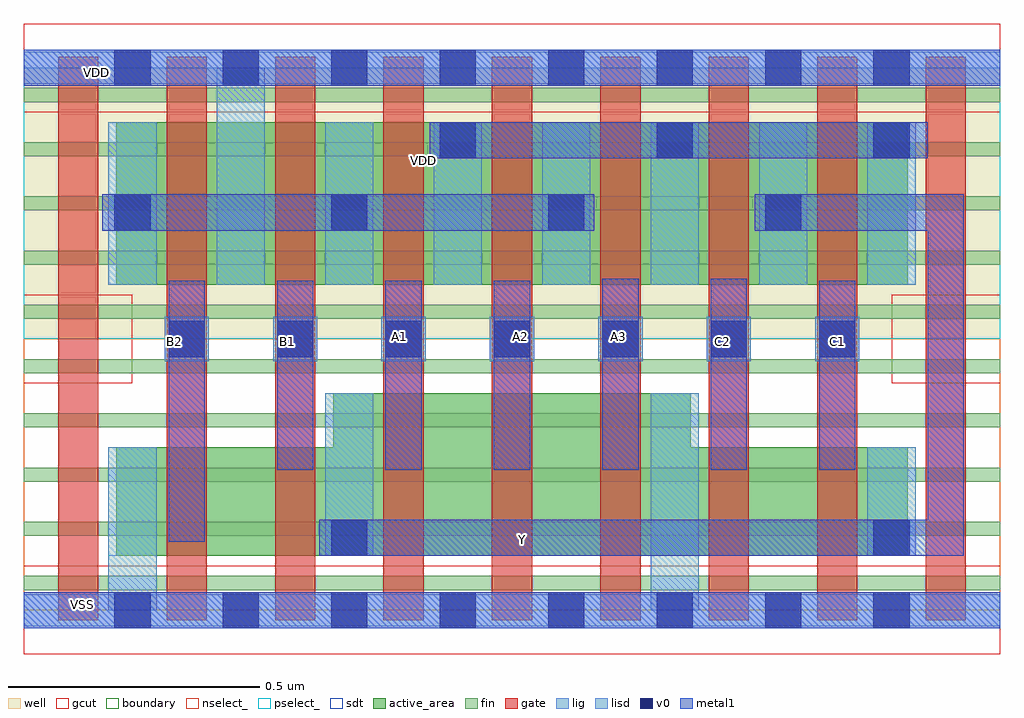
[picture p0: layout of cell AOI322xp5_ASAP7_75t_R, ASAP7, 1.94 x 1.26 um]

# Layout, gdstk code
import gdstk
lib = gdstk.Library(unit=1e-6, precision=2.5e-10)
def R(c, l, rs):  # rectangles x0, y0, x1, y1
    for r in rs: c.add(gdstk.rectangle(r[:2], r[2:], *l))
def A(c, l, x, y, w, h, nx, ny, dx, dy):  # array of equal rectangles
    R(c, l, [(x+i*dx, y+j*dy, x+i*dx+w, y+j*dy+h) for i in range(nx) for j in range(ny)])
def P(c, l, *ps):  # polygons
    for p in ps: c.add(gdstk.Polygon(p, *l))
well = (1, 0)
fin = (2, 0)
gate = (7, 0)
gcut = (10, 0)
active_area = (11, 0)
nselect_ = (12, 0)
pselect_ = (13, 0)
lig = (16, 0)
lisd = (17, 0)
v0 = (18, 0)
metal1 = (19, 0)
sdt = (88, 0)
boundary = (100, 0)

aoi322xp5_asap7_75t_r = lib.new_cell('AOI322xp5_ASAP7_75t_R')
R(aoi322xp5_asap7_75t_r, well, [(0,0.54,1.944,1.08)])
A(aoi322xp5_asap7_75t_r, fin, 0, 0.04, 1.944, 0.028, 1, 10, 0, 0.108)
A(aoi322xp5_asap7_75t_r, gate, 0.068, -0.02, 0.08, 1.122, 9, 1, 0.216, 0)
R(aoi322xp5_asap7_75t_r, gcut, [(0,-0.088,1.944,0.088), (0,0.452,0.216,0.628), (1.728,0.452,1.944,0.628), (0,0.992,1.944,1.168)])
R(aoi322xp5_asap7_75t_r, active_area, [(0.184,0.648,1.76,0.972)])
P(aoi322xp5_asap7_75t_r, active_area, [(1.76,0.324),(1.328,0.324),(1.328,0.432),(0.616,0.432),(0.616,0.324),(0.184,0.324),(0.184,0.108),(1.76,0.108)])
R(aoi322xp5_asap7_75t_r, nselect_, [(0,0,1.944,0.54)])
R(aoi322xp5_asap7_75t_r, pselect_, [(0,0.54,1.944,1.08)])
A(aoi322xp5_asap7_75t_r, lig, 0.28, 0.496, 0.088, 0.088, 7, 1, 0.216, 0)
R(aoi322xp5_asap7_75t_r, lig, [(0,-0.032,1.944,0.032), (0,1.048,1.944,1.112)])
A(aoi322xp5_asap7_75t_r, lisd, 0.6, 0.648, 0.096, 0.324, 6, 1, 0.216, 0)
R(aoi322xp5_asap7_75t_r, lisd, [(0.168,0,0.264,0.324), (1.248,0,1.344,0.432), (0.6,0.108,0.696,0.432), (1.68,0.108,1.776,0.324), (0.168,0.648,0.264,0.972), (0.384,0.648,0.48,1.08)])
A(aoi322xp5_asap7_75t_r, v0, 0.18, -0.036, 0.072, 0.072, 8, 2, 0.216, 1.08)
A(aoi322xp5_asap7_75t_r, v0, 0.288, 0.504, 0.072, 0.072, 7, 1, 0.216, 0)
A(aoi322xp5_asap7_75t_r, v0, 0.18, 0.756, 0.072, 0.072, 4, 1, 0.432, 0)
A(aoi322xp5_asap7_75t_r, v0, 0.828, 0.9, 0.072, 0.072, 3, 1, 0.432, 0)
R(aoi322xp5_asap7_75t_r, v0, [(0.612,0.108,0.684,0.18), (1.692,0.108,1.764,0.18)])
A(aoi322xp5_asap7_75t_r, metal1, 0.504, 0.28, 0.072, 0.376, 3, 1, 0.216, 0)
R(aoi322xp5_asap7_75t_r, metal1, [(0,-0.036,1.944,0.036), (0.288,0.136,0.36,0.656), (1.152,0.28,1.224,0.66), (1.368,0.28,1.44,0.66), (1.584,0.28,1.656,0.656), (0.156,0.756,1.136,0.828), (0.808,0.9,1.8,0.972), (0,1.044,1.944,1.116)])
P(aoi322xp5_asap7_75t_r, metal1, [(1.872,0.828),(1.456,0.828),(1.456,0.756),(1.8,0.756),(1.8,0.18),(0.588,0.18),(0.588,0.108),(1.872,0.108)])
A(aoi322xp5_asap7_75t_r, sdt, 0.168, 0.648, 0.096, 0.324, 8, 1, 0.216, 0)
R(aoi322xp5_asap7_75t_r, sdt, [(0.168,0.108,0.264,0.324), (0.6,0.108,0.696,0.432), (1.248,0.108,1.344,0.432), (1.68,0.108,1.776,0.324)])
R(aoi322xp5_asap7_75t_r, boundary, [(0,0,1.944,1.08)])
aoi322xp5_asap7_75t_r.add(gdstk.Label('A1', (0.748,0.544), layer=19, texttype=251))
aoi322xp5_asap7_75t_r.add(gdstk.Label('C2', (1.392,0.536), layer=19, texttype=251))
aoi322xp5_asap7_75t_r.add(gdstk.Label('Y', (0.992,0.14), layer=19, texttype=251))
aoi322xp5_asap7_75t_r.add(gdstk.Label('VDD', (0.144,1.07), layer=19, texttype=251))
aoi322xp5_asap7_75t_r.add(gdstk.Label('VSS', (0.116,0.012), layer=19, texttype=251))
aoi322xp5_asap7_75t_r.add(gdstk.Label('C1', (1.62,0.536), layer=19, texttype=251))
aoi322xp5_asap7_75t_r.add(gdstk.Label('A2', (0.988,0.544), layer=19, texttype=251))
aoi322xp5_asap7_75t_r.add(gdstk.Label('B1', (0.524,0.536), layer=19, texttype=251))
aoi322xp5_asap7_75t_r.add(gdstk.Label('B2', (0.3,0.536), layer=19, texttype=251))
aoi322xp5_asap7_75t_r.add(gdstk.Label('A3', (1.184,0.544), layer=19, texttype=251))
aoi322xp5_asap7_75t_r.add(gdstk.Label('VDD', (0.796,0.896), layer=1, texttype=251))
aoi322xp5_asap7_75t_r.add(gdstk.Label('VSS', (0.444,-0.156), layer=3, texttype=251))

lib.write_gds('AOI322xp5_ASAP7_75t_R.gds')
